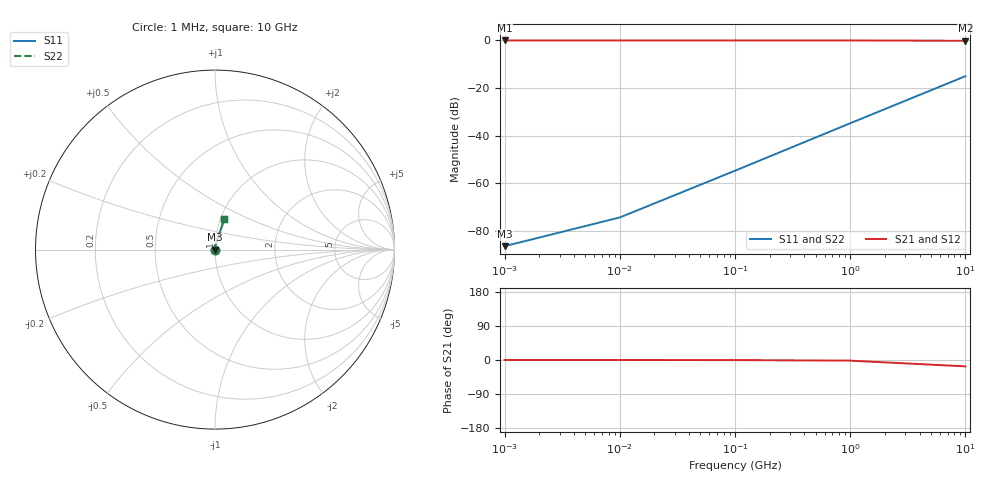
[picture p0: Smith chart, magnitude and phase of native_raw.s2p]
! Sonnet Data File
! From: em Version : 18.53-Lite
! From Project: arr_cu1
! Data is NOT De-embedded
! Data File Written: 10/11/2026 13:49:16
!< HDATE 10/11/2026 13:49:16
!< MDATE 10/11/2026 13:49:16
# GHZ S RI R 50.00000
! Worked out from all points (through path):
!   5 points, 1 MHz to 10 GHz, reference 50 ohm
!   highest |S21| = 0.00 dB at 1 MHz (marker M1); lowest = -0.1 dB at 10 GHz (marker M2)
!   lowest |S11| = -86.3 dB at 1 MHz (marker M3), VSWR 1.00, Z = 50 + j0.00192 ohm
!   |S11| at or under -10 dB: start of sweep to end of sweep
!   |S22| runs from -86.3 to -15.0 dB; largest |S21 - S12| = 4.2e-12
0.001  4.45e-05 1.92e-05  1 -3.06e-05  1 -3.06e-05  4.45e-05 1.92e-05
0.01  4.67e-05 0.000188  1 -0.000302  1 -0.000302  4.67e-05 0.000188
0.1  6.56e-05 0.00185  0.9999 -0.00299  0.9999 -0.00299  6.56e-05 0.00185
1  0.000656 0.0183  0.9993 -0.0297  0.9993 -0.0297  0.000656 0.0183
10  0.0517 0.1703  0.9418 -0.2845  0.9418 -0.2845  0.0517 0.1703
